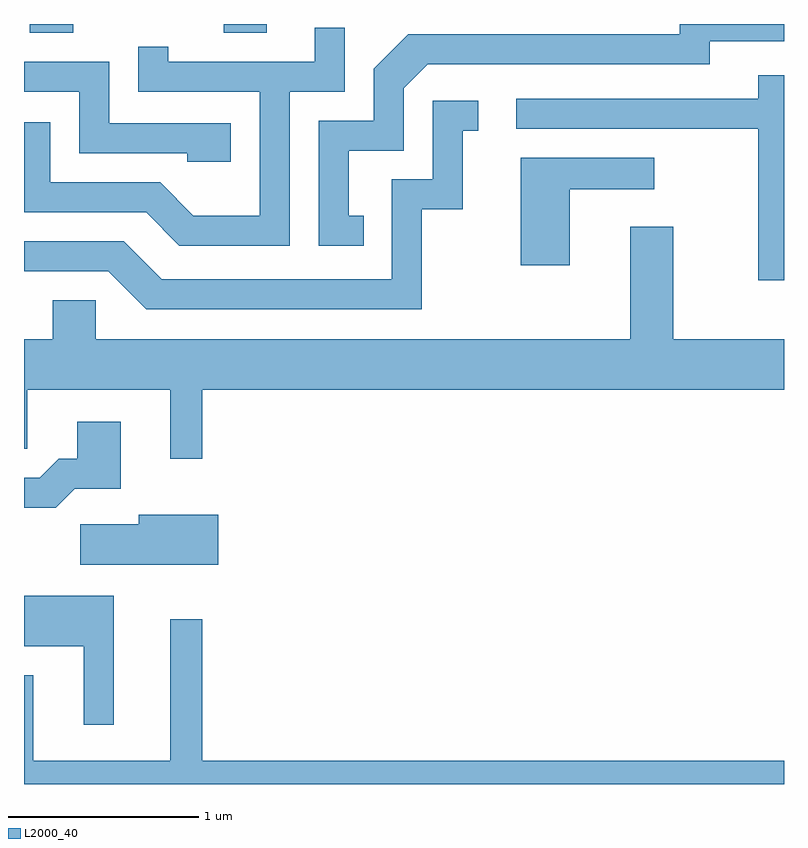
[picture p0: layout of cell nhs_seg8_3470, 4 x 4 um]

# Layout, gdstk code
import gdstk
lib = gdstk.Library(unit=1e-6, precision=1e-09)
def R(c, l, rs):  # rectangles x0, y0, x1, y1
    for r in rs: c.add(gdstk.rectangle(r[:2], r[2:], *l))
def P(c, l, *ps):  # polygons
    for p in ps: c.add(gdstk.Polygon(p, *l))
L2000_40 = (2000, 40)

nhs_seg8_3470 = lib.new_cell('nhs_seg8_3470')
R(nhs_seg8_3470, L2000_40, [(289.641,1838.296,289.869,1838.342), (290.661,1838.296,290.889,1838.342)])
P(nhs_seg8_3470, L2000_40, [(291.398,1837.334),(291.319,1837.334),(291.319,1837.676),(291.609,1837.676),(291.609,1838.004),(291.737,1838.131),(293.219,1838.131),(293.219,1838.251),(293.611,1838.251),(293.611,1838.342),(293.061,1838.342),(293.061,1838.289),(291.634,1838.289),(291.451,1838.107),(291.451,1837.834),(291.161,1837.834),(291.161,1837.176),(291.398,1837.176)],
  [(291.009,1837.986),(291.299,1837.986),(291.299,1838.323),(291.141,1838.323),(291.141,1838.144),(290.369,1838.144),(290.369,1838.223),(290.211,1838.223),(290.211,1837.986),(290.851,1837.986),(290.851,1837.334),(290.502,1837.334),(290.327,1837.509),(289.749,1837.509),(289.749,1837.824),(289.611,1837.824),(289.611,1837.351),(290.254,1837.351),(290.429,1837.176),(291.009,1837.176)],
  [(290.699,1837.819),(290.059,1837.819),(290.059,1838.144),(289.611,1838.144),(289.611,1837.986),(289.901,1837.986),(289.901,1837.661),(290.471,1837.661),(290.471,1837.616),(290.699,1837.616)],
  [(293.611,1838.073),(293.476,1838.073),(293.476,1837.949),(292.203,1837.949),(292.203,1837.791),(293.476,1837.791),(293.476,1836.993),(293.611,1836.993)],
  [(291.704,1837.366),(291.919,1837.366),(291.919,1837.781),(292.003,1837.781),(292.003,1837.939),(291.761,1837.939),(291.761,1837.524),(291.546,1837.524),(291.546,1836.999),(290.337,1836.999),(290.137,1837.199),(289.611,1837.199),(289.611,1837.041),(290.054,1837.041),(290.254,1836.841),(291.704,1836.841)],
  [(292.484,1837.471),(292.928,1837.471),(292.928,1837.639),(292.226,1837.639),(292.226,1837.071),(292.484,1837.071)],
  [(290.549,1836.416),(293.611,1836.416),(293.611,1836.684),(293.029,1836.684),(293.029,1837.274),(292.801,1837.274),(292.801,1836.684),(289.989,1836.684),(289.989,1836.889),(289.761,1836.889),(289.761,1836.684),(289.611,1836.684),(289.611,1836.106),(289.629,1836.106),(289.629,1836.416),(290.381,1836.416),(290.381,1836.053),(290.549,1836.053)],
  [(289.877,1835.896),(290.119,1835.896),(290.119,1836.249),(289.891,1836.249),(289.891,1836.054),(289.794,1836.054),(289.752,1836.013),(289.694,1835.954),(289.611,1835.954),(289.611,1835.796),(289.777,1835.796)],
  [(290.634,1835.759),(290.216,1835.759),(290.216,1835.709),(289.906,1835.709),(289.906,1835.496),(290.634,1835.496)],
  [(290.084,1835.334),(289.611,1835.334),(289.611,1835.066),(289.926,1835.066),(289.926,1834.653),(290.084,1834.653)],
  [(293.611,1834.464),(290.549,1834.464),(290.549,1835.208),(290.381,1835.208),(290.381,1834.464),(289.659,1834.464),(289.659,1834.914),(289.611,1834.914),(289.611,1834.342),(293.611,1834.342)])

lib.write_gds('nhs_seg8_3470.gds')
